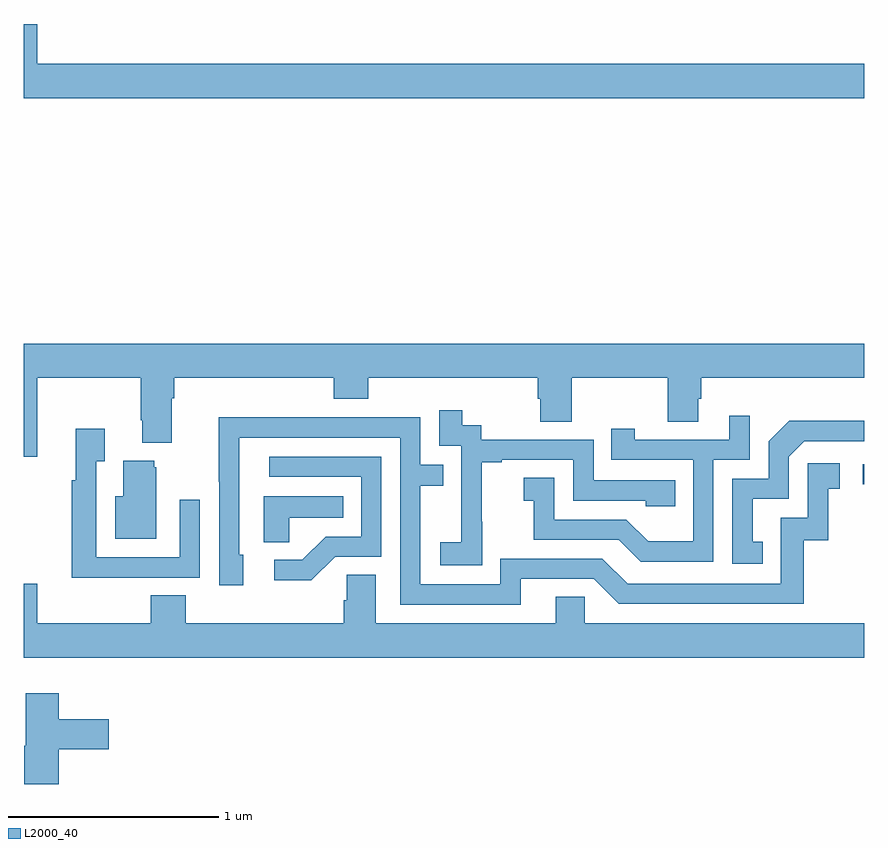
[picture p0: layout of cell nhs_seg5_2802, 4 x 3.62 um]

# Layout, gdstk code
import gdstk
lib = gdstk.Library(unit=1e-6, precision=1e-09)
def R(c, l, rs):  # rectangles x0, y0, x1, y1
    for r in rs: c.add(gdstk.rectangle(r[:2], r[2:], *l))
def P(c, l, *ps):  # polygons
    for p in ps: c.add(gdstk.Polygon(p, *l))
L2000_40 = (2000, 40)

nhs_seg5_2802 = lib.new_cell('nhs_seg5_2802')
R(nhs_seg5_2802, L2000_40, [(276.993,884.226,277,884.322)])
P(nhs_seg5_2802, L2000_40, [(277,886.228),(273.064,886.228),(273.064,886.417),(273,886.417),(273,886.064),(277,886.064)],
  [(273.064,884.732),(273.556,884.732),(273.556,884.53),(273.563,884.53),(273.563,884.423),(273.703,884.423),(273.703,884.636),(273.716,884.636),(273.716,884.732),(274.475,884.732),(274.475,884.633),(274.64,884.633),(274.64,884.732),(275.447,884.732),(275.447,884.634),(275.459,884.634),(275.459,884.524),(275.607,884.524),(275.607,884.732),(276.064,884.732),(276.064,884.524),(276.211,884.524),(276.211,884.634),(276.224,884.634),(276.224,884.732),(277,884.732),(277,884.896),(273,884.896),(273,884.358),(273.064,884.358)],
  [(275.181,884.047),(275.18,884.047),(275.18,884.331),(275.275,884.331),(275.275,884.343),(275.616,884.343),(275.616,884.148),(275.961,884.148),(275.961,884.121),(276.101,884.121),(276.101,884.244),(275.712,884.244),(275.712,884.439),(275.178,884.439),(275.178,884.508),(275.086,884.508),(275.086,884.578),(274.977,884.578),(274.977,884.409),(275.082,884.409),(275.082,884.18),(275.081,884.18),(275.081,883.951),(274.983,883.951),(274.983,883.841),(275.181,883.841)],
  [(276.282,884.343),(276.456,884.343),(276.456,884.551),(276.359,884.551),(276.359,884.439),(275.908,884.439),(275.908,884.491),(275.797,884.491),(275.797,884.343),(276.186,884.343),(276.186,883.954),(275.972,883.954),(275.868,884.058),(275.526,884.058),(275.526,884.257),(275.379,884.257),(275.379,884.147),(275.428,884.147),(275.428,883.962),(275.831,883.962),(275.936,883.857),(276.282,883.857)],
  [(275.365,883.776),(275.712,883.776),(275.832,883.656),(276.712,883.656),(276.712,883.959),(276.83,883.959),(276.83,884.205),(276.883,884.205),(276.883,884.326),(276.732,884.326),(276.732,884.067),(276.603,884.067),(276.603,883.752),(275.874,883.752),(275.754,883.872),(275.268,883.872),(275.268,883.749),(274.887,883.749),(274.887,884.218),(274.997,884.218),(274.997,884.319),(274.887,884.319),(274.887,884.544),(274.391,884.544),(274.391,884.546),(273.928,884.546),(273.928,884.239),(273.93,884.239),(273.93,883.746),(274.045,883.746),(274.045,883.89),(274.026,883.89),(274.026,884.448),(274.791,884.448),(274.791,883.653),(275.365,883.653)],
  [(276.518,883.953),(276.469,883.953),(276.469,884.157),(276.642,884.157),(276.642,884.358),(276.714,884.43),(277,884.43),(277,884.528),(276.644,884.528),(276.546,884.43),(276.546,884.253),(276.372,884.253),(276.372,883.848),(276.518,883.848)],
  [(273.521,883.782),(273.837,883.782),(273.837,884.152),(273.741,884.152),(273.741,883.878),(273.345,883.878),(273.345,884.335),(273.385,884.335),(273.385,884.491),(273.248,884.491),(273.248,884.246),(273.229,884.246),(273.229,883.781),(273.521,883.781)],
  [(274.482,883.881),(274.701,883.881),(274.701,884.358),(274.167,884.358),(274.167,884.262),(274.605,884.262),(274.605,883.977),(274.436,883.977),(274.325,883.866),(274.191,883.866),(274.191,883.769),(274.369,883.769)],
  [(273.631,884.307),(273.62,884.307),(273.62,884.338),(273.473,884.338),(273.473,884.17),(273.434,884.17),(273.434,883.967),(273.631,883.967)],
  [(274.263,884.066),(274.52,884.066),(274.52,884.17),(274.142,884.17),(274.142,883.951),(274.263,883.951)],
  [(277,883.564),(275.67,883.564),(275.67,883.691),(275.531,883.691),(275.531,883.564),(274.675,883.564),(274.675,883.796),(274.536,883.796),(274.536,883.673),(274.523,883.673),(274.523,883.564),(273.77,883.564),(273.77,883.697),(273.605,883.697),(273.605,883.564),(273.064,883.564),(273.064,883.753),(273,883.753),(273,883.4),(277,883.4)],
  [(273.167,882.965),(273.403,882.965),(273.403,883.107),(273.167,883.107),(273.167,883.231),(273.008,883.231),(273.008,882.981),(273.001,882.981),(273.001,882.799),(273.167,882.799)])

lib.write_gds('nhs_seg5_2802.gds')
